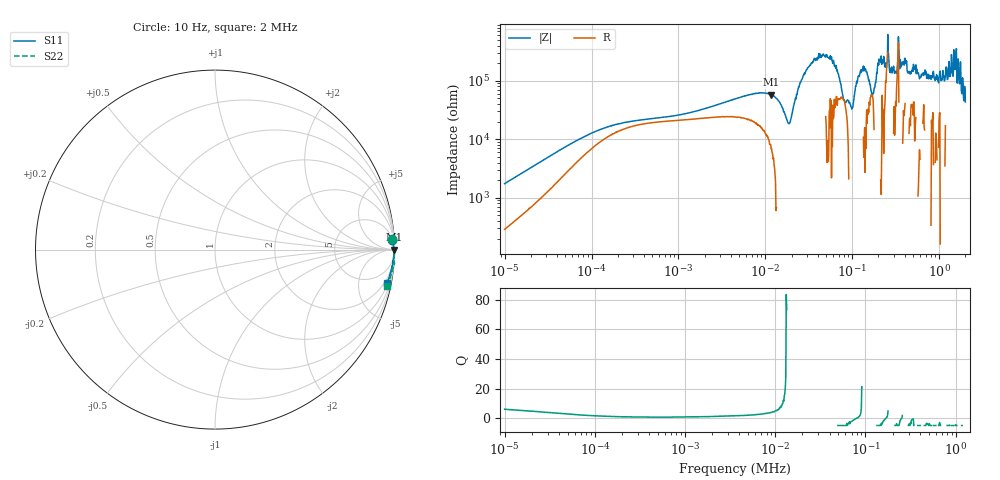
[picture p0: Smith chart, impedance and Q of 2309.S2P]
!Agilent Technologies,E5061B,MY49204007,A.02.12
!Date: Wed Jul 23 11:54:08 2025
!Data & Calibration Information:
!Freq	S11:SOLT2(ON)	S21:SOLT2(ON)	S12:SOLT2(ON)	S22:SOLT2(ON)
# Hz S dB R 50
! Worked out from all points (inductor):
!   1040 points, 10 Hz to 2 MHz, reference 50 ohm
!   read as one part in series: L = 26.5 H near 10.69 Hz
!   highest Q = 8.38 at 11.65 kHz (marker M1), where L = 786 mH
!   self-resonance near 18.87 kHz
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10  -0.10 3.2  -24.90 -77.2  -24.91 -77.1  -0.08 3.4
77.209  -0.04 0.5  -40.50 -61.9  -40.51 -61.8  -0.02 0.7
588.818  -0.03 0.1  -47.31 -31.4  -47.32 -31.2  -0.02 0.3
4498.482  -0.01 0.0  -53.82 -60.5  -53.79 -60.6  0.01 0.2
11650.17  -0.01 -0.1  -55.26 -83.2  -55.21 -82.7  0.01 0.1
18873.38  -0.05 -0.1  -45.43 -174.3  -45.42 -174.5  -0.03 0.1
25274.37  -0.01 -0.0  -59.58 110.2  -59.27 111.0  0.01 0.2
34305.13  -0.00 -0.2  -65.92 99.1  -66.10 102.3  0.01 0.0
57662.58  -0.00 -0.3  -68.20 89.3  -66.78 81.0  0.01 -0.2
67848.69  -0.01 -0.4  -62.91 70.0  -63.19 74.1  0.01 -0.3
79996  -0.03 -0.5  -53.40 6.4  -53.37 5.5  -0.00 -0.4
97726.23  -0.03 -0.5  -50.88 -143.2  -50.70 -142.3  -0.02 -0.5
129465.5  -0.01 -0.7  -63.27 84.8  -63.10 91.8  0.01 -0.5
171424.7  -0.04 -0.9  -55.12 -21.4  -55.25 -19.4  -0.01 -0.8
205377.7  -0.01 -1.0  -66.60 100.4  -66.79 94.7  0.00 -0.9
261946.5  -0.03 -1.3  -68.46 -155.5  -69.45 -166.8  -0.02 -1.3
306858.3  -0.02 -1.7  -62.51 83.4  -63.60 89.4  -0.00 -1.5
355448.7  -0.02 -1.9  -67.19 90.2  -66.79 92.9  -0.01 -1.7
455072.7  -0.03 -2.4  -63.00 78.6  -62.40 86.8  -0.00 -2.3
931419  -0.06 -5.0  -62.13 80.9  -61.40 83.8  -0.02 -5.6
1574823  -0.14 -8.5  -71.16 -174.9  -68.80 -173.1  -0.11 -9.2
2000000  -0.21 -11.0  -53.05 -129.7  -53.04 -125.5  -0.20 -11.9
